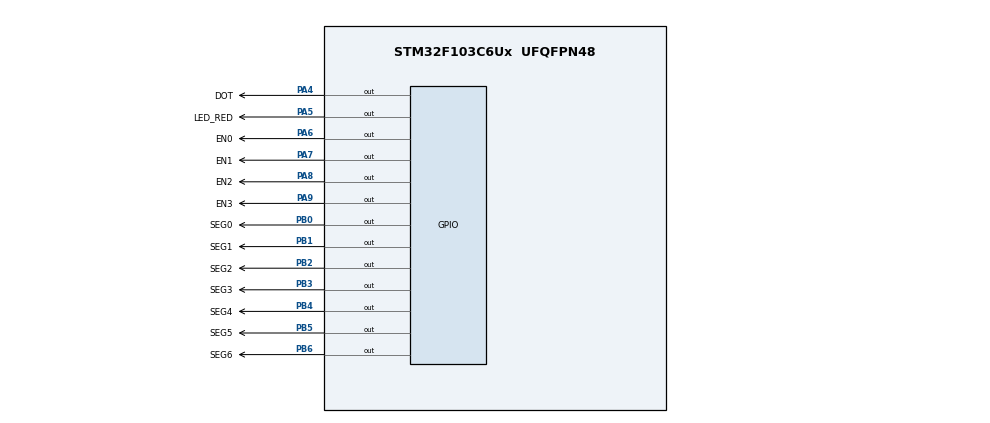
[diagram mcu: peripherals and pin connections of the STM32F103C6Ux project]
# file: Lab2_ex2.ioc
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Mcu.Family=STM32F1
Mcu.Name=STM32F103C6Ux
Mcu.Package=UFQFPN48
NVIC.PriorityGroup=NVIC_PRIORITYGROUP_4
NVIC.TIM2_IRQn=true\:0\:0\:false\:false\:true\:true\:true
PA4.GPIO_Label=DOT
PA4.Signal=GPIO_Output
PA5.GPIO_Label=LED_RED
PA5.Signal=GPIO_Output
PA6.GPIO_Label=EN0
PA6.Signal=GPIO_Output
PA7.GPIO_Label=EN1
PA7.Signal=GPIO_Output
PA8.GPIO_Label=EN2
PA8.Signal=GPIO_Output
PA9.GPIO_Label=EN3
PA9.Signal=GPIO_Output
PB0.GPIO_Label=SEG0
PB0.Signal=GPIO_Output
PB1.GPIO_Label=SEG1
PB1.Signal=GPIO_Output
PB2.GPIO_Label=SEG2
PB2.Signal=GPIO_Output
PB3.GPIO_Label=SEG3
PB3.Signal=GPIO_Output
PB4.GPIO_Label=SEG4
PB4.Signal=GPIO_Output
PB5.GPIO_Label=SEG5
PB5.Signal=GPIO_Output
PB6.GPIO_Label=SEG6
PB6.Signal=GPIO_Output
ProjectManager.HeapSize=0x200
ProjectManager.StackSize=0x400
ProjectManager.TargetToolchain=STM32CubeIDE
RCC.APB1Freq_Value=8000000
RCC.APB2Freq_Value=8000000
TIM2.Period=9
TIM2.Prescaler=7999
VP_SYS_VS_ND.Mode=No_Debug
VP_TIM2_VS_ClockSourceINT.Mode=Internal
board=custom

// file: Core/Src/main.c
/* USER CODE BEGIN Header */
/**
  ******************************************************************************
  * @file           : main.c
  * @brief          : Main program body
  ******************************************************************************
  * @attention
  *
  * <h2><center>&copy; Copyright (c) 2022 STMicroelectronics.
  * All rights reserved.</center></h2>
  *
  * This software component is licensed by ST under BSD 3-Clause license,
  * the "License"; You may not use this file except in compliance with the
  * License. You may obtain a copy of the License at:
  *                        opensource.org/licenses/BSD-3-Clause
  *
  ******************************************************************************
  */
/* USER CODE END Header */
#include "main.h"

TIM_HandleTypeDef htim2;

void SystemClock_Config(void);
static void MX_GPIO_Init(void);
static void MX_TIM2_Init(void);

/* USER CODE BEGIN 0 */
void display7SEG(int num) {
	if (num==0) {
		HAL_GPIO_WritePin(SEG0_GPIO_Port, SEG0_Pin, RESET);
		HAL_GPIO_WritePin(SEG1_GPIO_Port, SEG1_Pin, RESET);
		HAL_GPIO_WritePin(SEG2_GPIO_Port, SEG2_Pin, RESET);
		HAL_GPIO_WritePin(SEG3_GPIO_Port, SEG3_Pin, RESET);
		HAL_GPIO_WritePin(SEG4_GPIO_Port, SEG4_Pin, RESET);
		HAL_GPIO_WritePin(SEG5_GPIO_Port, SEG5_Pin, RESET);
		HAL_GPIO_WritePin(SEG6_GPIO_Port, SEG6_Pin, SET);
	}
	if (num==1) {
		HAL_GPIO_WritePin(SEG0_GPIO_Port, SEG0_Pin, SET);
		HAL_GPIO_WritePin(SEG1_GPIO_Port, SEG1_Pin, RESET);
		HAL_GPIO_WritePin(SEG2_GPIO_Port, SEG2_Pin, RESET);
		HAL_GPIO_WritePin(SEG3_GPIO_Port, SEG3_Pin, SET);
		HAL_GPIO_WritePin(SEG4_GPIO_Port, SEG4_Pin, SET);
		HAL_GPIO_WritePin(SEG5_GPIO_Port, SEG5_Pin, SET);
		HAL_GPIO_WritePin(SEG6_GPIO_Port, SEG6_Pin, SET);
	}
	if (num==2) {
		HAL_GPIO_WritePin(SEG0_GPIO_Port, SEG0_Pin, RESET);
		HAL_GPIO_WritePin(SEG1_GPIO_Port, SEG1_Pin, RESET);
		HAL_GPIO_WritePin(SEG2_GPIO_Port, SEG2_Pin, SET);
		HAL_GPIO_WritePin(SEG3_GPIO_Port, SEG3_Pin, RESET);
		HAL_GPIO_WritePin(SEG4_GPIO_Port, SEG4_Pin, RESET);
		HAL_GPIO_WritePin(SEG5_GPIO_Port, SEG5_Pin, SET);
		HAL_GPIO_WritePin(SEG6_GPIO_Port, SEG6_Pin, RESET);
	}
	if (num==3) {
		HAL_GPIO_WritePin(SEG0_GPIO_Port, SEG0_Pin, RESET);
		HAL_GPIO_WritePin(SEG1_GPIO_Port, SEG1_Pin, RESET);
		HAL_GPIO_WritePin(SEG2_GPIO_Port, SEG2_Pin, RESET);
		HAL_GPIO_WritePin(SEG3_GPIO_Port, SEG3_Pin, RESET);
		HAL_GPIO_WritePin(SEG4_GPIO_Port, SEG4_Pin, SET);
		HAL_GPIO_WritePin(SEG5_GPIO_Port, SEG5_Pin, SET);
		HAL_GPIO_WritePin(SEG6_GPIO_Port, SEG6_Pin, RESET);
	}
	if (num==4) {
		HAL_GPIO_WritePin(SEG0_GPIO_Port, SEG0_Pin, SET);
		HAL_GPIO_WritePin(SEG1_GPIO_Port, SEG1_Pin, RESET);
		HAL_GPIO_WritePin(SEG2_GPIO_Port, SEG2_Pin, RESET);
		HAL_GPIO_WritePin(SEG3_GPIO_Port, SEG3_Pin, SET);
		HAL_GPIO_WritePin(SEG4_GPIO_Port, SEG4_Pin, SET);
		HAL_GPIO_WritePin(SEG5_GPIO_Port, SEG5_Pin, RESET);
		HAL_GPIO_WritePin(SEG6_GPIO_Port, SEG6_Pin, RESET);
	}
	if (num==5) {
		HAL_GPIO_WritePin(SEG0_GPIO_Port, SEG0_Pin, RESET);
		HAL_GPIO_WritePin(SEG1_GPIO_Port, SEG1_Pin, SET);
		HAL_GPIO_WritePin(SEG2_GPIO_Port, SEG2_Pin, RESET);
		HAL_GPIO_WritePin(SEG3_GPIO_Port, SEG3_Pin, RESET);
		HAL_GPIO_WritePin(SEG4_GPIO_Port, SEG4_Pin, SET);
		HAL_GPIO_WritePin(SEG5_GPIO_Port, SEG5_Pin, RESET);
		HAL_GPIO_WritePin(SEG6_GPIO_Port, SEG6_Pin, RESET);
	}
	if (num==6) {
		HAL_GPIO_WritePin(SEG0_GPIO_Port, SEG0_Pin, RESET);
		HAL_GPIO_WritePin(SEG1_GPIO_Port, SEG1_Pin, SET);
		HAL_GPIO_WritePin(SEG2_GPIO_Port, SEG2_Pin, RESET);
		HAL_GPIO_WritePin(SEG3_GPIO_Port, SEG3_Pin, RESET);
		HAL_GPIO_WritePin(SEG4_GPIO_Port, SEG4_Pin, RESET);
		HAL_GPIO_WritePin(SEG5_GPIO_Port, SEG5_Pin, RESET);
		HAL_GPIO_WritePin(SEG6_GPIO_Port, SEG6_Pin, RESET);
	}
	if (num==7) {
		HAL_GPIO_WritePin(SEG0_GPIO_Port, SEG0_Pin, RESET);
		HAL_GPIO_WritePin(SEG1_GPIO_Port, SEG1_Pin, RESET);
		HAL_GPIO_WritePin(SEG2_GPIO_Port, SEG2_Pin, RESET);
		HAL_GPIO_WritePin(SEG3_GPIO_Port, SEG3_Pin, SET);
		HAL_GPIO_WritePin(SEG4_GPIO_Port, SEG4_Pin, SET);
		HAL_GPIO_WritePin(SEG5_GPIO_Port, SEG5_Pin, SET);
		HAL_GPIO_WritePin(SEG6_GPIO_Port, SEG6_Pin, SET);
	}
	if (num==8) {
		HAL_GPIO_WritePin(SEG0_GPIO_Port, SEG0_Pin, RESET);
		HAL_GPIO_WritePin(SEG1_GPIO_Port, SEG1_Pin, RESET);
		HAL_GPIO_WritePin(SEG2_GPIO_Port, SEG2_Pin, RESET);
		HAL_GPIO_WritePin(SEG3_GPIO_Port, SEG3_Pin, RESET);
		HAL_GPIO_WritePin(SEG4_GPIO_Port, SEG4_Pin, RESET);
		HAL_GPIO_WritePin(SEG5_GPIO_Port, SEG5_Pin, RESET);
		HAL_GPIO_WritePin(SEG6_GPIO_Port, SEG6_Pin, RESET);
	}
	if (num==9) {
		HAL_GPIO_WritePin(SEG0_GPIO_Port, SEG0_Pin, RESET);
		HAL_GPIO_WritePin(SEG1_GPIO_Port, SEG1_Pin, RESET);
		HAL_GPIO_WritePin(SEG2_GPIO_Port, SEG2_Pin, RESET);
		HAL_GPIO_WritePin(SEG3_GPIO_Port, SEG3_Pin, RESET);
		HAL_GPIO_WritePin(SEG4_GPIO_Port, SEG4_Pin, SET);
		HAL_GPIO_WritePin(SEG5_GPIO_Port, SEG5_Pin, RESET);
		HAL_GPIO_WritePin(SEG6_GPIO_Port, SEG6_Pin, RESET);
	}
}
int counter=50;
int status=1;
void HAL_TIM_PeriodElapsedCallback(TIM_HandleTypeDef *htim) {
	counter--;
	if (counter<=0) {
		counter=50;
		HAL_GPIO_TogglePin(LED_RED_GPIO_Port, LED_RED_Pin);
		HAL_GPIO_TogglePin(DOT_GPIO_Port, DOT_Pin);
		switch (status) {
		case 1:
			HAL_GPIO_WritePin(EN0_GPIO_Port, EN0_Pin, RESET);
			HAL_GPIO_WritePin(EN1_GPIO_Port, EN1_Pin, SET);
			HAL_GPIO_WritePin(EN2_GPIO_Port, EN2_Pin, SET);
			HAL_GPIO_WritePin(EN3_GPIO_Port, EN3_Pin, SET);
			display7SEG(1);
			status=2;
			break;
		case 2:
			HAL_GPIO_WritePin(EN0_GPIO_Port, EN0_Pin, SET);
			HAL_GPIO_WritePin(EN1_GPIO_Port, EN1_Pin, RESET);
			HAL_GPIO_WritePin(EN2_GPIO_Port, EN2_Pin, SET);
			HAL_GPIO_WritePin(EN3_GPIO_Port, EN3_Pin, SET);
			display7SEG(2);
			status=4;
			break;
		case 3:
			HAL_GPIO_WritePin(EN0_GPIO_Port, EN0_Pin, SET);
			HAL_GPIO_WritePin(EN1_GPIO_Port, EN1_Pin, SET);
			HAL_GPIO_WritePin(EN2_GPIO_Port, EN2_Pin, RESET);
			HAL_GPIO_WritePin(EN3_GPIO_Port, EN3_Pin, SET);
			display7SEG(0);
			status=1;
			break;
		case 4:
			HAL_GPIO_WritePin(EN0_GPIO_Port, EN0_Pin, SET);
			HAL_GPIO_WritePin(EN1_GPIO_Port, EN1_Pin, SET);
			HAL_GPIO_WritePin(EN2_GPIO_Port, EN2_Pin, SET);
			HAL_GPIO_WritePin(EN3_GPIO_Port, EN3_Pin, RESET);
			display7SEG(3);
			status=3;
			break;
		default:
			break;
		}
	}
}
/* USER CODE END 0 */

int main(void)
{

  /* MCU Configuration--------------------------------------------------------*/

  /* Reset of all peripherals, Initializes the Flash interface and the Systick. */
  HAL_Init();

  /* Configure the system clock */
  SystemClock_Config();

  /* Initialize all configured peripherals */
  MX_GPIO_Init();
  MX_TIM2_Init();
  /* USER CODE BEGIN 2 */
  HAL_TIM_Base_Start_IT(&htim2);
  /* USER CODE END 2 */

  /* Infinite loop */
  while (1)
  {

  }
}

void SystemClock_Config(void)
{
  RCC_OscInitTypeDef RCC_OscInitStruct = {0};
  RCC_ClkInitTypeDef RCC_ClkInitStruct = {0};

  /** Initializes the RCC Oscillators according to the specified parameters
  * in the RCC_OscInitTypeDef structure.
  */
  RCC_OscInitStruct.OscillatorType = RCC_OSCILLATORTYPE_HSI;
  RCC_OscInitStruct.HSIState = RCC_HSI_ON;
  RCC_OscInitStruct.HSICalibrationValue = RCC_HSICALIBRATION_DEFAULT;
  RCC_OscInitStruct.PLL.PLLState = RCC_PLL_NONE;
  if (HAL_RCC_OscConfig(&RCC_OscInitStruct) != HAL_OK)
  {
    Error_Handler();
  }
  /** Initializes the CPU, AHB and APB buses clocks
  */
  RCC_ClkInitStruct.ClockType = RCC_CLOCKTYPE_HCLK|RCC_CLOCKTYPE_SYSCLK
                              |RCC_CLOCKTYPE_PCLK1|RCC_CLOCKTYPE_PCLK2;
  RCC_ClkInitStruct.SYSCLKSource = RCC_SYSCLKSOURCE_HSI;
  RCC_ClkInitStruct.AHBCLKDivider = RCC_SYSCLK_DIV1;
  RCC_ClkInitStruct.APB1CLKDivider = RCC_HCLK_DIV1;
  RCC_ClkInitStruct.APB2CLKDivider = RCC_HCLK_DIV1;

  if (HAL_RCC_ClockConfig(&RCC_ClkInitStruct, FLASH_LATENCY_0) != HAL_OK)
  {
    Error_Handler();
  }
}

static void MX_TIM2_Init(void)
{

  TIM_ClockConfigTypeDef sClockSourceConfig = {0};
  TIM_MasterConfigTypeDef sMasterConfig = {0};

  htim2.Instance = TIM2;
  htim2.Init.Prescaler = 7999;
  htim2.Init.CounterMode = TIM_COUNTERMODE_UP;
  htim2.Init.Period = 9;
  htim2.Init.ClockDivision = TIM_CLOCKDIVISION_DIV1;
  htim2.Init.AutoReloadPreload = TIM_AUTORELOAD_PRELOAD_DISABLE;
  if (HAL_TIM_Base_Init(&htim2) != HAL_OK)
  {
    Error_Handler();
  }
  sClockSourceConfig.ClockSource = TIM_CLOCKSOURCE_INTERNAL;
  if (HAL_TIM_ConfigClockSource(&htim2, &sClockSourceConfig) != HAL_OK)
  {
    Error_Handler();
  }
  sMasterConfig.MasterOutputTrigger = TIM_TRGO_RESET;
  sMasterConfig.MasterSlaveMode = TIM_MASTERSLAVEMODE_DISABLE;
  if (HAL_TIMEx_MasterConfigSynchronization(&htim2, &sMasterConfig) != HAL_OK)
  {
    Error_Handler();
  }

}

static void MX_GPIO_Init(void)
{
  GPIO_InitTypeDef GPIO_InitStruct = {0};

  /* GPIO Ports Clock Enable */
  __HAL_RCC_GPIOA_CLK_ENABLE();
  __HAL_RCC_GPIOB_CLK_ENABLE();

  /*Configure GPIO pin Output Level */
  HAL_GPIO_WritePin(GPIOA, DOT_Pin|LED_RED_Pin|EN0_Pin|EN1_Pin
                          |EN2_Pin|EN3_Pin, GPIO_PIN_RESET);

  /*Configure GPIO pin Output Level */
  HAL_GPIO_WritePin(GPIOB, SEG0_Pin|SEG1_Pin|SEG2_Pin|SEG3_Pin
                          |SEG4_Pin|SEG5_Pin|SEG6_Pin, GPIO_PIN_SET);

  /*Configure GPIO pins : DOT_Pin LED_RED_Pin EN0_Pin EN1_Pin
                           EN2_Pin EN3_Pin */
  GPIO_InitStruct.Pin = DOT_Pin|LED_RED_Pin|EN0_Pin|EN1_Pin
                          |EN2_Pin|EN3_Pin;
  GPIO_InitStruct.Mode = GPIO_MODE_OUTPUT_PP;
  GPIO_InitStruct.Pull = GPIO_NOPULL;
  GPIO_InitStruct.Speed = GPIO_SPEED_FREQ_LOW;
  HAL_GPIO_Init(GPIOA, &GPIO_InitStruct);

  /*Configure GPIO pins : SEG0_Pin SEG1_Pin SEG2_Pin SEG3_Pin
                           SEG4_Pin SEG5_Pin SEG6_Pin */
  GPIO_InitStruct.Pin = SEG0_Pin|SEG1_Pin|SEG2_Pin|SEG3_Pin
                          |SEG4_Pin|SEG5_Pin|SEG6_Pin;
  GPIO_InitStruct.Mode = GPIO_MODE_OUTPUT_PP;
  GPIO_InitStruct.Pull = GPIO_NOPULL;
  GPIO_InitStruct.Speed = GPIO_SPEED_FREQ_LOW;
  HAL_GPIO_Init(GPIOB, &GPIO_InitStruct);

}

void Error_Handler(void)
{
  __disable_irq();
  while (1)
  {
  }
}

/************************ (C) COPYRIGHT STMicroelectronics *****END OF FILE****/
